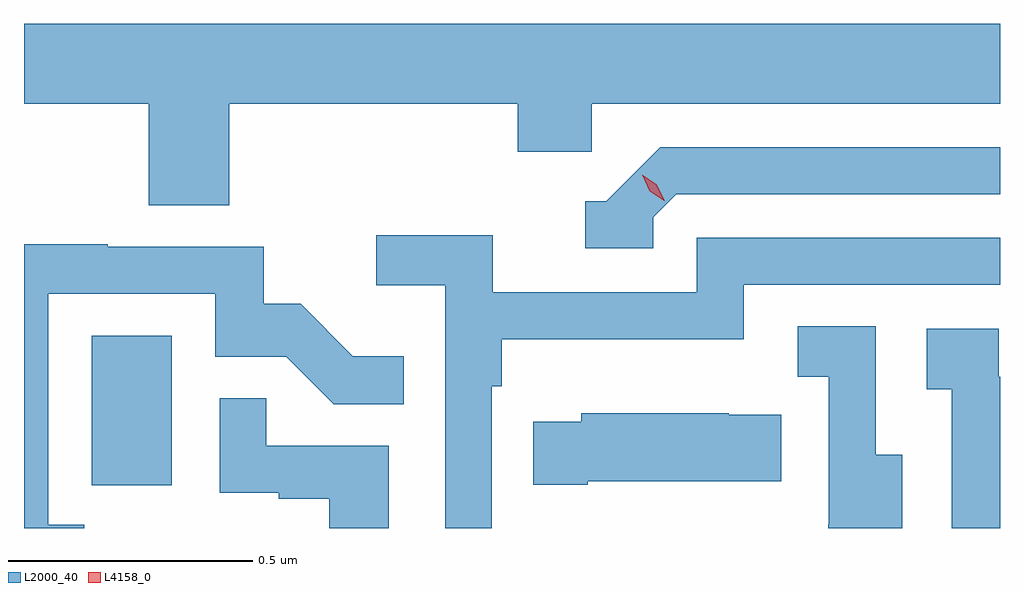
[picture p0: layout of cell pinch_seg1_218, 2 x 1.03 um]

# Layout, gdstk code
import gdstk
lib = gdstk.Library(unit=1e-6, precision=1e-09)
def R(c, l, rs):  # rectangles x0, y0, x1, y1
    for r in rs: c.add(gdstk.rectangle(r[:2], r[2:], *l))
def P(c, l, *ps):  # polygons
    for p in ps: c.add(gdstk.Polygon(p, *l))
L2000_40 = (2000, 40)
L4158_0 = (4158, 0)

pinch_seg1_218 = lib.new_cell('pinch_seg1_218')
R(pinch_seg1_218, L2000_40, [(956.75,580.254,956.914,580.561)])
P(pinch_seg1_218, L2000_40, [(957.032,581.036),(957.623,581.036),(957.623,580.938),(957.774,580.938),(957.774,581.036),(958.611,581.036),(958.611,581.2),(956.611,581.2),(956.611,581.036),(956.867,581.036),(956.867,580.828),(957.032,580.828)],
  [(957.9,580.803),(957.948,580.851),(958.611,580.851),(958.611,580.947),(957.915,580.947),(957.804,580.836),(957.761,580.836),(957.761,580.74),(957.9,580.74)],
  [(957.57,580.457),(957.59,580.457),(957.59,580.553),(958.086,580.553),(958.086,580.665),(958.611,580.665),(958.611,580.761),(957.99,580.761),(957.99,580.65),(957.572,580.65),(957.572,580.766),(957.333,580.766),(957.333,580.664),(957.474,580.664),(957.474,580.166),(957.57,580.166)],
  [(956.734,580.173),(956.661,580.173),(956.661,580.647),(957.003,580.647),(957.003,580.518),(957.148,580.518),(957.246,580.42),(957.389,580.42),(957.389,580.519),(957.285,580.519),(957.178,580.626),(957.102,580.626),(957.102,580.743),(956.783,580.743),(956.783,580.748),(956.611,580.748),(956.611,580.166),(956.734,580.166)],
  [(958.411,580.317),(958.356,580.317),(958.356,580.58),(958.197,580.58),(958.197,580.477),(958.26,580.477),(958.26,580.173),(958.259,580.173),(958.259,580.166),(958.411,580.166)],
  [(958.611,580.477),(958.608,580.477),(958.608,580.575),(958.461,580.575),(958.461,580.451),(958.512,580.451),(958.512,580.166),(958.611,580.166)],
  [(957.358,580.335),(957.107,580.335),(957.107,580.433),(957.012,580.433),(957.012,580.239),(957.133,580.239),(957.133,580.227),(957.236,580.227),(957.236,580.166),(957.358,580.166)],
  [(957.766,580.262),(958.163,580.262),(958.163,580.399),(958.055,580.399),(958.055,580.402),(957.753,580.402),(957.753,580.384),(957.655,580.384),(957.655,580.255),(957.766,580.255)])
P(pinch_seg1_218, L4158_0, [(957.923,580.837),(957.893,580.857),(957.878,580.89),(957.878,580.89),(957.878,580.89),(957.908,580.87),(957.924,580.837),(957.924,580.837)])

lib.write_gds('pinch_seg1_218.gds')
